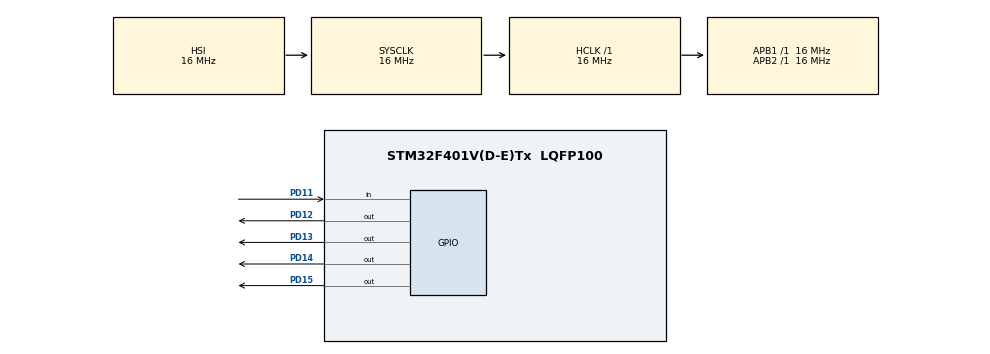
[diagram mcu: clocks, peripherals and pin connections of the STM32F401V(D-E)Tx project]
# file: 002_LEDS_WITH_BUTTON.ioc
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Mcu.Family=STM32F4
Mcu.Name=STM32F401V(D-E)Tx
Mcu.Package=LQFP100
NVIC.PriorityGroup=NVIC_PRIORITYGROUP_4
PD11.GPIO_PuPd=GPIO_PULLDOWN
PD11.Signal=GPIO_Input
PD12.Signal=GPIO_Output
PD13.Signal=GPIO_Output
PD14.Signal=GPIO_Output
PD15.Signal=GPIO_Output
ProjectManager.HeapSize=0x200
ProjectManager.StackSize=0x400
ProjectManager.TargetToolchain=STM32CubeIDE
RCC.AHBFreq_Value=16000000
RCC.APB1Freq_Value=16000000
RCC.APB2Freq_Value=16000000
RCC.CortexFreq_Value=16000000
RCC.HSE_VALUE=25000000
RCC.HSI_VALUE=16000000
RCC.LSE_VALUE=32768
RCC.SYSCLKFreq_VALUE=16000000
RCC.VCOOutputFreq_Value=192000000
board=custom

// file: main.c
/* USER CODE BEGIN Header */
/**
 ******************************************************************************
 * @file           : main.c
 * @brief          : Main program body
 ******************************************************************************
 * @attention
 *
 * Copyright (c) 2023 STMicroelectronics.
 * All rights reserved.
 *
 * This software is licensed under terms that can be found in the LICENSE file
 * in the root directory of this software component.
 * If no LICENSE file comes with this software, it is provided AS-IS.
 *
 ******************************************************************************
 */
/* USER CODE END Header */
#include "main.h"

void SystemClock_Config(void);
static void MX_GPIO_Init(void);

int main(void)
{

  /* MCU Configuration--------------------------------------------------------*/

  /* Reset of all peripherals, Initializes the Flash interface and the Systick. */
  HAL_Init();

  /* Configure the system clock */
  SystemClock_Config();

  /* Initialize all configured peripherals */
  MX_GPIO_Init();

  /* Infinite loop */
  /* USER CODE BEGIN WHILE */
	int counter = 0;
	while (1) {
		if (HAL_GPIO_ReadPin(GPIOD, GPIO_PIN_11)) {
			while (HAL_GPIO_ReadPin(GPIOD, GPIO_PIN_11));
			HAL_Delay(100);

			counter++;

			if (counter == 1) {
				HAL_GPIO_WritePin(GPIOD, GPIO_PIN_12, GPIO_PIN_SET);
			} else if (counter == 2) {
				HAL_GPIO_WritePin(GPIOD, GPIO_PIN_13, GPIO_PIN_SET);
			} else if (counter == 3) {
				HAL_GPIO_WritePin(GPIOD, GPIO_PIN_14, GPIO_PIN_SET);
			} else if (counter == 4) {
				HAL_GPIO_WritePin(GPIOD, GPIO_PIN_15, GPIO_PIN_SET);
			} else {
				HAL_GPIO_WritePin(GPIOD, GPIO_PIN_15, GPIO_PIN_RESET);
				HAL_Delay(500);
				HAL_GPIO_WritePin(GPIOD, GPIO_PIN_14, GPIO_PIN_RESET);
				HAL_Delay(500);
				HAL_GPIO_WritePin(GPIOD, GPIO_PIN_13, GPIO_PIN_RESET);
				HAL_Delay(500);
				HAL_GPIO_WritePin(GPIOD, GPIO_PIN_12, GPIO_PIN_RESET);
				counter = 0;
			}

		}

    /* USER CODE END WHILE */

	}
}

void SystemClock_Config(void)
{
  RCC_OscInitTypeDef RCC_OscInitStruct = {0};
  RCC_ClkInitTypeDef RCC_ClkInitStruct = {0};

  /** Configure the main internal regulator output voltage
  */
  __HAL_RCC_PWR_CLK_ENABLE();
  __HAL_PWR_VOLTAGESCALING_CONFIG(PWR_REGULATOR_VOLTAGE_SCALE2);

  /** Initializes the RCC Oscillators according to the specified parameters
  * in the RCC_OscInitTypeDef structure.
  */
  RCC_OscInitStruct.OscillatorType = RCC_OSCILLATORTYPE_HSI;
  RCC_OscInitStruct.HSIState = RCC_HSI_ON;
  RCC_OscInitStruct.HSICalibrationValue = RCC_HSICALIBRATION_DEFAULT;
  RCC_OscInitStruct.PLL.PLLState = RCC_PLL_NONE;
  if (HAL_RCC_OscConfig(&RCC_OscInitStruct) != HAL_OK)
  {
    Error_Handler();
  }

  /** Initializes the CPU, AHB and APB buses clocks
  */
  RCC_ClkInitStruct.ClockType = RCC_CLOCKTYPE_HCLK|RCC_CLOCKTYPE_SYSCLK
                              |RCC_CLOCKTYPE_PCLK1|RCC_CLOCKTYPE_PCLK2;
  RCC_ClkInitStruct.SYSCLKSource = RCC_SYSCLKSOURCE_HSI;
  RCC_ClkInitStruct.AHBCLKDivider = RCC_SYSCLK_DIV1;
  RCC_ClkInitStruct.APB1CLKDivider = RCC_HCLK_DIV1;
  RCC_ClkInitStruct.APB2CLKDivider = RCC_HCLK_DIV1;

  if (HAL_RCC_ClockConfig(&RCC_ClkInitStruct, FLASH_LATENCY_0) != HAL_OK)
  {
    Error_Handler();
  }
}

static void MX_GPIO_Init(void)
{
  GPIO_InitTypeDef GPIO_InitStruct = {0};

  /* GPIO Ports Clock Enable */
  __HAL_RCC_GPIOD_CLK_ENABLE();

  /*Configure GPIO pin Output Level */
  HAL_GPIO_WritePin(GPIOD, GPIO_PIN_12|GPIO_PIN_13|GPIO_PIN_14|GPIO_PIN_15, GPIO_PIN_RESET);

  /*Configure GPIO pin : PD11 */
  GPIO_InitStruct.Pin = GPIO_PIN_11;
  GPIO_InitStruct.Mode = GPIO_MODE_INPUT;
  GPIO_InitStruct.Pull = GPIO_PULLDOWN;
  HAL_GPIO_Init(GPIOD, &GPIO_InitStruct);

  /*Configure GPIO pins : PD12 PD13 PD14 PD15 */
  GPIO_InitStruct.Pin = GPIO_PIN_12|GPIO_PIN_13|GPIO_PIN_14|GPIO_PIN_15;
  GPIO_InitStruct.Mode = GPIO_MODE_OUTPUT_PP;
  GPIO_InitStruct.Pull = GPIO_NOPULL;
  GPIO_InitStruct.Speed = GPIO_SPEED_FREQ_LOW;
  HAL_GPIO_Init(GPIOD, &GPIO_InitStruct);

}

void Error_Handler(void)
{
	__disable_irq();
	while (1) {
	}
}
